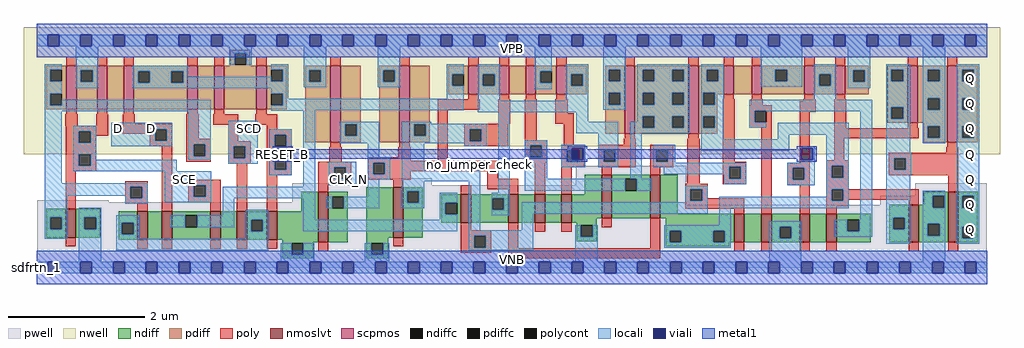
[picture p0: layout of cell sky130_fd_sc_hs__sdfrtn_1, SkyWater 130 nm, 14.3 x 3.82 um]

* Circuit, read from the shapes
.subckt sky130_fd_sc_hs__sdfrtn_1 CLK_N D RESET_B SCD SCE VGND VNB VPB VPWR Q
XM1 VGND SCE n1 VNB sky130_fd_pr__nfet_01v8_lvt w=0.42 l=0.15
XM2 n2 n1 n3 VNB sky130_fd_pr__nfet_01v8_lvt w=0.42 l=0.15
XM3 n4 D n2 VNB sky130_fd_pr__nfet_01v8_lvt w=0.42 l=0.15
XM4 n5 SCE n4 VNB sky130_fd_pr__nfet_01v8_lvt w=0.42 l=0.15
XM5 n3 SCD n5 VNB sky130_fd_pr__nfet_01v8_lvt w=0.42 l=0.15
XM6 VGND RESET_B n3 VNB sky130_fd_pr__nfet_01v8_lvt w=0.42 l=0.15
XM7 n6 CLK_N VGND VNB sky130_fd_pr__nfet_01v8_lvt w=0.74 l=0.15
XM8 n7 n6 VGND VNB sky130_fd_pr__nfet_01v8_lvt w=0.74 l=0.15
XM9 n8 n7 n4 VNB sky130_fd_pr__nfet_01v8_lvt w=0.42 l=0.15
XM10 n9 n6 n8 VNB sky130_fd_pr__nfet_01v8_lvt w=0.42 l=0.15
XM11 n10 n11 n9 VNB sky130_fd_pr__nfet_01v8_lvt w=0.42 l=0.15
XM12 VGND RESET_B n10 VNB sky130_fd_pr__nfet_01v8_lvt w=0.42 l=0.15
XM13 n11 n8 VGND VNB sky130_fd_pr__nfet_01v8_lvt w=0.64 l=0.15
XM14 n12 n6 n11 VNB sky130_fd_pr__nfet_01v8_lvt w=0.64 l=0.15
XM15 n13 n7 n12 VNB sky130_fd_pr__nfet_01v8_lvt w=0.42 l=0.15
XM16 VGND n14 n13 VNB sky130_fd_pr__nfet_01v8_lvt w=0.42 l=0.15
XM17 n15 RESET_B VGND VNB sky130_fd_pr__nfet_01v8_lvt w=0.42 l=0.15
XM18 n14 n12 n15 VNB sky130_fd_pr__nfet_01v8_lvt w=0.42 l=0.15
XM19 VGND n12 n16 VNB sky130_fd_pr__nfet_01v8_lvt w=0.55 l=0.15
XM20 Q n16 VGND VNB sky130_fd_pr__nfet_01v8_lvt w=0.74 l=0.15
XM21 VPWR SCE n1 VPB sky130_fd_pr__pfet_01v8 w=0.64 l=0.15
XM22 n17 SCE VPWR VPB sky130_fd_pr__pfet_01v8 w=0.64 l=0.15
XM23 n4 D n17 VPB sky130_fd_pr__pfet_01v8 w=0.64 l=0.15
XM24 n18 n1 n4 VPB sky130_fd_pr__pfet_01v8 w=0.64 l=0.15
XM25 VPWR SCD n18 VPB sky130_fd_pr__pfet_01v8 w=0.64 l=0.15
XM26 n4 RESET_B VPWR VPB sky130_fd_pr__pfet_01v8 w=0.64 l=0.15
XM27 n6 CLK_N VPWR VPB sky130_fd_pr__pfet_01v8 w=1.12 l=0.15
XM28 n7 n6 VPWR VPB sky130_fd_pr__pfet_01v8 w=1.12 l=0.15
XM29 n8 n6 n4 VPB sky130_fd_pr__pfet_01v8 w=0.42 l=0.15
XM30 n19 n7 n8 VPB sky130_fd_pr__pfet_01v8 w=0.42 l=0.15
XM31 VPWR n11 n19 VPB sky130_fd_pr__pfet_01v8 w=0.42 l=0.15
XM32 n8 RESET_B VPWR VPB sky130_fd_pr__pfet_01v8 w=0.42 l=0.15
XM33 n11 n8 VPWR VPB sky130_fd_pr__pfet_01v8 w=1 l=0.15
XM34 n12 n7 n11 VPB sky130_fd_pr__pfet_01v8 w=1 l=0.15
XM35 n20 n6 n12 VPB sky130_fd_pr__pfet_01v8 w=0.42 l=0.15
XM36 VPWR n14 n20 VPB sky130_fd_pr__pfet_01v8 w=0.42 l=0.15
XM37 n14 RESET_B VPWR VPB sky130_fd_pr__pfet_01v8 w=0.42 l=0.15
XM38 VPWR n12 n14 VPB sky130_fd_pr__pfet_01v8 w=0.42 l=0.15
XM39 VPWR n12 n16 VPB sky130_fd_pr__pfet_01v8 w=0.84 l=0.15
XM40 Q n16 VPWR VPB sky130_fd_pr__pfet_01v8 w=1.12 l=0.15
.ends

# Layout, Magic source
magic
tech sky130A
magscale 1 2
<< nwell >>
rect -38 356 2822 704
rect -38 332 1199 356
rect 1945 332 2822 356
<< pwell >>
rect 939 248 1157 262
rect 748 241 1157 248
rect 1579 241 1903 298
rect 1 191 211 198
rect 748 191 1903 241
rect 2573 210 2783 248
rect 1 184 1903 191
rect 2471 184 2783 210
rect 1 49 2783 184
rect 0 0 2784 49
<< scpmos >>
rect 86 464 116 592
rect 176 464 206 592
rect 254 464 284 592
rect 441 464 471 592
rect 519 464 549 592
rect 643 464 673 592
rect 860 368 890 592
rect 1062 368 1092 592
rect 1264 508 1294 592
rect 1354 508 1384 592
rect 1432 508 1462 592
rect 1522 508 1552 592
rect 1722 392 1752 592
rect 1909 392 1939 592
rect 2012 508 2042 592
rect 2094 508 2124 592
rect 2249 508 2279 592
rect 2339 508 2369 592
rect 2551 424 2581 592
rect 2667 368 2697 592
<< nmoslvt >>
rect 84 88 114 172
rect 294 81 324 165
rect 366 81 396 165
rect 508 81 538 165
rect 586 81 616 165
rect 674 81 704 165
rect 824 74 854 222
rect 1044 88 1074 236
rect 1242 131 1272 215
rect 1381 131 1411 215
rect 1459 131 1489 215
rect 1537 131 1567 215
rect 1655 144 1685 272
rect 1797 144 1827 272
rect 2043 74 2073 158
rect 2123 74 2153 158
rect 2235 74 2265 158
rect 2313 74 2343 158
rect 2554 74 2584 184
rect 2670 74 2700 222
<< ndiff >>
rect 27 147 84 172
rect 27 113 39 147
rect 73 113 84 147
rect 27 88 84 113
rect 114 147 185 172
rect 774 165 824 222
rect 114 113 139 147
rect 173 113 185 147
rect 114 88 185 113
rect 239 132 294 165
rect 239 98 249 132
rect 283 98 294 132
rect 239 81 294 98
rect 324 81 366 165
rect 396 153 508 165
rect 396 119 435 153
rect 469 119 508 153
rect 396 81 508 119
rect 538 81 586 165
rect 616 140 674 165
rect 616 106 628 140
rect 662 106 674 140
rect 616 81 674 106
rect 704 81 824 165
rect 719 74 824 81
rect 854 208 911 222
rect 854 174 865 208
rect 899 174 911 208
rect 854 74 911 174
rect 965 88 1044 236
rect 1074 224 1131 236
rect 1074 190 1085 224
rect 1119 190 1131 224
rect 1605 215 1655 272
rect 1074 88 1131 190
rect 1185 190 1242 215
rect 1185 156 1197 190
rect 1231 156 1242 190
rect 1185 131 1242 156
rect 1272 203 1381 215
rect 1272 169 1334 203
rect 1368 169 1381 203
rect 1272 131 1381 169
rect 1411 131 1459 215
rect 1489 131 1537 215
rect 1567 144 1655 215
rect 1685 260 1797 272
rect 1685 226 1724 260
rect 1758 226 1797 260
rect 1685 144 1797 226
rect 1827 158 1877 272
rect 2599 210 2670 222
rect 2599 184 2625 210
rect 1827 144 2043 158
rect 1567 131 1640 144
rect 719 72 809 74
rect 719 38 747 72
rect 781 38 809 72
rect 965 72 1029 88
rect 719 27 809 38
rect 965 38 980 72
rect 1014 38 1029 72
rect 1582 124 1640 131
rect 1582 90 1594 124
rect 1628 90 1640 124
rect 1582 78 1640 90
rect 1842 108 2043 144
rect 1842 74 1854 108
rect 1888 74 1982 108
rect 2016 74 2043 108
rect 2073 74 2123 158
rect 2153 120 2235 158
rect 2153 86 2176 120
rect 2210 86 2235 120
rect 2153 74 2235 86
rect 2265 74 2313 158
rect 2343 140 2443 158
rect 2343 106 2375 140
rect 2409 106 2443 140
rect 2343 74 2443 106
rect 2497 146 2554 184
rect 2497 112 2509 146
rect 2543 112 2554 146
rect 2497 74 2554 112
rect 2584 176 2625 184
rect 2659 176 2670 210
rect 2584 128 2670 176
rect 2584 94 2611 128
rect 2645 94 2670 128
rect 2584 74 2670 94
rect 2700 210 2757 222
rect 2700 176 2711 210
rect 2745 176 2757 210
rect 2700 120 2757 176
rect 2700 86 2711 120
rect 2745 86 2757 120
rect 2700 74 2757 86
rect 1842 62 2028 74
rect 965 27 1029 38
<< pdiff >>
rect 567 628 625 639
rect 567 594 579 628
rect 613 594 625 628
rect 567 592 625 594
rect 27 580 86 592
rect 27 546 39 580
rect 73 546 86 580
rect 27 510 86 546
rect 27 476 39 510
rect 73 476 86 510
rect 27 464 86 476
rect 116 578 176 592
rect 116 544 129 578
rect 163 544 176 578
rect 116 464 176 544
rect 206 464 254 592
rect 284 576 441 592
rect 284 542 297 576
rect 331 542 394 576
rect 428 542 441 576
rect 284 464 441 542
rect 471 464 519 592
rect 549 464 643 592
rect 673 580 732 592
rect 673 546 686 580
rect 720 546 732 580
rect 673 510 732 546
rect 673 476 686 510
rect 720 476 732 510
rect 673 464 732 476
rect 786 579 860 592
rect 786 545 798 579
rect 832 545 860 579
rect 786 368 860 545
rect 890 420 949 592
rect 890 386 903 420
rect 937 386 949 420
rect 890 368 949 386
rect 1003 579 1062 592
rect 1003 545 1015 579
rect 1049 545 1062 579
rect 1003 368 1062 545
rect 1092 420 1151 592
rect 1205 567 1264 592
rect 1205 533 1217 567
rect 1251 533 1264 567
rect 1205 508 1264 533
rect 1294 567 1354 592
rect 1294 533 1307 567
rect 1341 533 1354 567
rect 1294 508 1354 533
rect 1384 508 1432 592
rect 1462 576 1522 592
rect 1462 542 1475 576
rect 1509 542 1522 576
rect 1462 508 1522 542
rect 1552 567 1611 592
rect 1552 533 1565 567
rect 1599 533 1611 567
rect 1552 508 1611 533
rect 1665 580 1722 592
rect 1665 546 1675 580
rect 1709 546 1722 580
rect 1665 512 1722 546
rect 1092 386 1105 420
rect 1139 386 1151 420
rect 1092 368 1151 386
rect 1665 478 1675 512
rect 1709 478 1722 512
rect 1665 392 1722 478
rect 1752 580 1909 592
rect 1752 546 1775 580
rect 1809 546 1862 580
rect 1896 546 1909 580
rect 1752 512 1909 546
rect 1752 478 1775 512
rect 1809 478 1862 512
rect 1896 478 1909 512
rect 1752 444 1909 478
rect 1752 410 1775 444
rect 1809 410 1862 444
rect 1896 410 1909 444
rect 1752 392 1909 410
rect 1939 580 2012 592
rect 1939 546 1963 580
rect 1997 546 2012 580
rect 1939 512 2012 546
rect 1939 478 1952 512
rect 1986 508 2012 512
rect 2042 508 2094 592
rect 2124 580 2249 592
rect 2124 546 2164 580
rect 2198 546 2249 580
rect 2124 508 2249 546
rect 2279 567 2339 592
rect 2279 533 2292 567
rect 2326 533 2339 567
rect 2279 508 2339 533
rect 2369 578 2438 592
rect 2369 544 2392 578
rect 2426 544 2438 578
rect 2369 508 2438 544
rect 2492 580 2551 592
rect 2492 546 2504 580
rect 2538 546 2551 580
rect 1986 478 1994 508
rect 1939 444 1994 478
rect 1939 410 1952 444
rect 1986 410 1994 444
rect 1939 392 1994 410
rect 2492 470 2551 546
rect 2492 436 2504 470
rect 2538 436 2551 470
rect 2492 424 2551 436
rect 2581 580 2667 592
rect 2581 546 2611 580
rect 2645 546 2667 580
rect 2581 497 2667 546
rect 2581 463 2611 497
rect 2645 463 2667 497
rect 2581 424 2667 463
rect 2599 414 2667 424
rect 2599 380 2611 414
rect 2645 380 2667 414
rect 2599 368 2667 380
rect 2697 580 2757 592
rect 2697 546 2711 580
rect 2745 546 2757 580
rect 2697 497 2757 546
rect 2697 463 2711 497
rect 2745 463 2757 497
rect 2697 414 2757 463
rect 2697 380 2711 414
rect 2745 380 2757 414
rect 2697 368 2757 380
<< ndiffc >>
rect 39 113 73 147
rect 139 113 173 147
rect 249 98 283 132
rect 435 119 469 153
rect 628 106 662 140
rect 865 174 899 208
rect 1085 190 1119 224
rect 1197 156 1231 190
rect 1334 169 1368 203
rect 1724 226 1758 260
rect 747 38 781 72
rect 980 38 1014 72
rect 1594 90 1628 124
rect 1854 74 1888 108
rect 1982 74 2016 108
rect 2176 86 2210 120
rect 2375 106 2409 140
rect 2509 112 2543 146
rect 2625 176 2659 210
rect 2611 94 2645 128
rect 2711 176 2745 210
rect 2711 86 2745 120
<< pdiffc >>
rect 579 594 613 628
rect 39 546 73 580
rect 39 476 73 510
rect 129 544 163 578
rect 297 542 331 576
rect 394 542 428 576
rect 686 546 720 580
rect 686 476 720 510
rect 798 545 832 579
rect 903 386 937 420
rect 1015 545 1049 579
rect 1217 533 1251 567
rect 1307 533 1341 567
rect 1475 542 1509 576
rect 1565 533 1599 567
rect 1675 546 1709 580
rect 1105 386 1139 420
rect 1675 478 1709 512
rect 1775 546 1809 580
rect 1862 546 1896 580
rect 1775 478 1809 512
rect 1862 478 1896 512
rect 1775 410 1809 444
rect 1862 410 1896 444
rect 1963 546 1997 580
rect 1952 478 1986 512
rect 2164 546 2198 580
rect 2292 533 2326 567
rect 2392 544 2426 578
rect 2504 546 2538 580
rect 1952 410 1986 444
rect 2504 436 2538 470
rect 2611 546 2645 580
rect 2611 463 2645 497
rect 2611 380 2645 414
rect 2711 546 2745 580
rect 2711 463 2745 497
rect 2711 380 2745 414
<< poly >>
rect 86 592 116 618
rect 176 592 206 618
rect 254 592 284 618
rect 441 592 471 618
rect 519 592 549 618
rect 643 592 673 618
rect 860 592 890 618
rect 1062 592 1092 618
rect 1264 592 1294 618
rect 1354 592 1384 618
rect 1432 592 1462 618
rect 1522 592 1552 618
rect 1722 592 1752 618
rect 1909 592 1939 618
rect 2012 592 2042 618
rect 2094 592 2124 618
rect 2249 592 2279 618
rect 2339 592 2369 618
rect 2551 592 2581 618
rect 2667 592 2697 618
rect 86 449 116 464
rect 176 449 206 464
rect 254 449 284 464
rect 441 449 471 464
rect 519 449 549 464
rect 643 449 673 464
rect 83 416 119 449
rect 173 416 209 449
rect 84 400 209 416
rect 84 366 123 400
rect 157 386 209 400
rect 251 422 287 449
rect 251 406 396 422
rect 251 392 346 406
rect 157 366 173 386
rect 84 332 173 366
rect 330 372 346 392
rect 380 372 396 406
rect 330 356 396 372
rect 84 298 123 332
rect 157 298 173 332
rect 84 282 173 298
rect 84 172 114 282
rect 258 237 324 253
rect 258 203 274 237
rect 308 203 324 237
rect 258 187 324 203
rect 294 165 324 187
rect 366 165 396 356
rect 438 377 474 449
rect 516 419 590 449
rect 640 419 704 449
rect 438 361 509 377
rect 438 327 459 361
rect 493 327 509 361
rect 438 311 509 327
rect 560 371 590 419
rect 674 405 704 419
rect 674 389 747 405
rect 560 355 626 371
rect 560 321 576 355
rect 610 321 626 355
rect 560 305 626 321
rect 674 355 697 389
rect 731 355 747 389
rect 1264 493 1294 508
rect 1354 493 1384 508
rect 1432 493 1462 508
rect 1522 493 1552 508
rect 1174 463 1297 493
rect 674 321 747 355
rect 860 353 890 368
rect 1062 353 1092 368
rect 444 241 538 257
rect 444 207 460 241
rect 494 207 538 241
rect 444 191 538 207
rect 508 165 538 191
rect 586 165 616 305
rect 674 287 697 321
rect 731 287 747 321
rect 857 310 893 353
rect 1059 324 1095 353
rect 969 313 1095 324
rect 1174 313 1204 463
rect 1351 421 1387 493
rect 1252 405 1381 421
rect 1252 371 1268 405
rect 1302 371 1381 405
rect 1252 355 1381 371
rect 1429 374 1465 493
rect 1519 452 1555 493
rect 1519 422 1573 452
rect 1429 358 1495 374
rect 1543 360 1573 422
rect 2012 493 2042 508
rect 2094 493 2124 508
rect 2249 493 2279 508
rect 2339 493 2369 508
rect 1722 377 1752 392
rect 1909 377 1939 392
rect 1719 360 1755 377
rect 1429 324 1445 358
rect 1479 324 1495 358
rect 674 271 747 287
rect 824 294 921 310
rect 674 165 704 271
rect 824 260 871 294
rect 905 260 921 294
rect 824 244 921 260
rect 969 308 1350 313
rect 1429 308 1495 324
rect 1537 344 1603 360
rect 1537 310 1553 344
rect 1587 310 1603 344
rect 969 274 985 308
rect 1019 283 1350 308
rect 1019 274 1095 283
rect 969 258 1095 274
rect 1320 260 1350 283
rect 824 222 854 244
rect 1044 236 1074 258
rect 84 62 114 88
rect 294 55 324 81
rect 366 55 396 81
rect 508 55 538 81
rect 586 55 616 81
rect 674 55 704 81
rect 1242 215 1272 241
rect 1320 230 1411 260
rect 1381 215 1411 230
rect 1459 215 1489 308
rect 1537 294 1603 310
rect 1645 344 1755 360
rect 1645 310 1661 344
rect 1695 310 1755 344
rect 1645 294 1755 310
rect 1797 344 1864 360
rect 1797 310 1814 344
rect 1848 310 1864 344
rect 1797 294 1864 310
rect 1537 215 1567 294
rect 1655 272 1685 294
rect 1797 272 1827 294
rect 1906 246 1942 377
rect 2009 311 2045 493
rect 2091 476 2127 493
rect 2246 487 2282 493
rect 2087 460 2153 476
rect 2087 426 2103 460
rect 2137 426 2153 460
rect 2087 410 2153 426
rect 2009 295 2079 311
rect 2009 261 2029 295
rect 2063 261 2079 295
rect 1899 230 1965 246
rect 2009 245 2079 261
rect 1899 196 1915 230
rect 1949 203 1965 230
rect 1949 196 2073 203
rect 1899 173 2073 196
rect 2043 158 2073 173
rect 2123 158 2153 410
rect 2235 457 2282 487
rect 2235 308 2265 457
rect 2336 409 2372 493
rect 2551 409 2581 424
rect 2336 379 2584 409
rect 2336 314 2366 379
rect 2667 353 2697 368
rect 2664 337 2700 353
rect 2496 321 2700 337
rect 2199 292 2265 308
rect 2199 258 2215 292
rect 2249 258 2265 292
rect 2199 242 2265 258
rect 2235 158 2265 242
rect 2313 298 2379 314
rect 2313 264 2329 298
rect 2363 264 2379 298
rect 2496 287 2512 321
rect 2546 287 2700 321
rect 2496 271 2700 287
rect 2313 230 2379 264
rect 2313 196 2329 230
rect 2363 229 2379 230
rect 2363 199 2584 229
rect 2670 222 2700 271
rect 2363 196 2379 199
rect 2313 180 2379 196
rect 2554 184 2584 199
rect 2313 158 2343 180
rect 1242 109 1272 131
rect 1242 93 1331 109
rect 824 48 854 74
rect 1044 62 1074 88
rect 1242 59 1281 93
rect 1315 59 1331 93
rect 1242 43 1331 59
rect 1381 57 1411 131
rect 1459 105 1489 131
rect 1537 105 1567 131
rect 1655 118 1685 144
rect 1797 57 1827 144
rect 1381 27 1827 57
rect 2043 48 2073 74
rect 2123 48 2153 74
rect 2235 48 2265 74
rect 2313 48 2343 74
rect 2554 48 2584 74
rect 2670 48 2700 74
<< polycont >>
rect 123 366 157 400
rect 346 372 380 406
rect 123 298 157 332
rect 274 203 308 237
rect 459 327 493 361
rect 576 321 610 355
rect 697 355 731 389
rect 460 207 494 241
rect 697 287 731 321
rect 1268 371 1302 405
rect 1445 324 1479 358
rect 871 260 905 294
rect 1553 310 1587 344
rect 985 274 1019 308
rect 1661 310 1695 344
rect 1814 310 1848 344
rect 2103 426 2137 460
rect 2029 261 2063 295
rect 1915 196 1949 230
rect 2215 258 2249 292
rect 2329 264 2363 298
rect 2512 287 2546 321
rect 2329 196 2363 230
rect 1281 59 1315 93
<< locali >>
rect 0 649 31 683
rect 65 649 127 683
rect 161 649 223 683
rect 257 649 319 683
rect 353 649 415 683
rect 449 649 511 683
rect 545 649 607 683
rect 641 649 703 683
rect 737 649 799 683
rect 833 649 895 683
rect 929 649 991 683
rect 1025 649 1087 683
rect 1121 649 1183 683
rect 1217 649 1279 683
rect 1313 649 1375 683
rect 1409 649 1471 683
rect 1505 649 1567 683
rect 1601 649 1663 683
rect 1697 649 1759 683
rect 1793 649 1855 683
rect 1889 649 1951 683
rect 1985 649 2047 683
rect 2081 649 2143 683
rect 2177 649 2239 683
rect 2273 649 2335 683
rect 2369 649 2431 683
rect 2465 649 2527 683
rect 2561 649 2623 683
rect 2657 649 2719 683
rect 2753 649 2784 683
rect 23 580 73 596
rect 23 546 39 580
rect 23 510 73 546
rect 113 578 179 649
rect 563 628 629 649
rect 563 594 579 628
rect 613 594 629 628
rect 113 544 129 578
rect 163 544 179 578
rect 113 526 179 544
rect 281 576 444 592
rect 281 542 297 576
rect 331 542 394 576
rect 428 560 444 576
rect 686 580 736 596
rect 428 546 686 560
rect 720 546 736 580
rect 428 542 736 546
rect 281 526 736 542
rect 782 579 848 649
rect 782 545 798 579
rect 832 545 848 579
rect 782 529 848 545
rect 999 579 1065 649
rect 999 545 1015 579
rect 1049 545 1065 579
rect 999 529 1065 545
rect 1201 567 1251 596
rect 1201 533 1217 567
rect 23 476 39 510
rect 686 510 736 526
rect 73 476 509 492
rect 23 458 509 476
rect 720 495 736 510
rect 1201 495 1251 533
rect 720 476 1251 495
rect 686 461 1251 476
rect 1291 567 1357 596
rect 1291 533 1307 567
rect 1341 533 1357 567
rect 1291 489 1357 533
rect 1459 576 1509 649
rect 1459 542 1475 576
rect 1459 523 1509 542
rect 1549 567 1615 596
rect 1549 533 1565 567
rect 1599 533 1615 567
rect 1549 489 1615 533
rect 686 460 815 461
rect 23 248 73 458
rect 107 400 173 416
rect 107 366 123 400
rect 157 366 173 400
rect 107 332 173 366
rect 217 406 396 424
rect 217 372 346 406
rect 380 372 396 406
rect 217 356 396 372
rect 443 361 509 458
rect 107 298 123 332
rect 157 316 173 332
rect 443 327 459 361
rect 493 327 509 361
rect 443 316 509 327
rect 560 355 647 430
rect 560 321 576 355
rect 610 321 647 355
rect 157 298 409 316
rect 560 305 647 321
rect 681 389 747 405
rect 681 355 697 389
rect 731 355 747 389
rect 681 350 747 355
rect 681 321 703 350
rect 107 282 409 298
rect 681 287 697 321
rect 737 316 747 350
rect 731 287 747 316
rect 23 237 324 248
rect 23 210 274 237
rect 23 147 89 210
rect 258 203 274 210
rect 308 203 324 237
rect 258 187 324 203
rect 375 241 510 282
rect 681 271 747 287
rect 375 207 460 241
rect 494 207 510 241
rect 781 237 815 460
rect 1291 455 1615 489
rect 1659 580 1725 649
rect 1659 546 1675 580
rect 1709 546 1725 580
rect 1659 512 1725 546
rect 1659 478 1675 512
rect 1709 478 1725 512
rect 1659 462 1725 478
rect 1759 580 1913 596
rect 1759 546 1775 580
rect 1809 546 1862 580
rect 1896 546 1913 580
rect 1759 512 1913 546
rect 1759 478 1775 512
rect 1809 478 1862 512
rect 1896 478 1913 512
rect 887 420 1003 427
rect 887 386 903 420
rect 937 386 1003 420
rect 887 364 1003 386
rect 969 324 1003 364
rect 1069 421 1155 427
rect 1069 420 1318 421
rect 1069 386 1105 420
rect 1139 405 1318 420
rect 1139 386 1268 405
rect 1069 371 1268 386
rect 1302 371 1318 405
rect 1069 364 1318 371
rect 855 294 935 310
rect 855 260 871 294
rect 905 260 935 294
rect 855 242 935 260
rect 969 308 1035 324
rect 969 274 985 308
rect 1019 274 1035 308
rect 969 258 1035 274
rect 1069 287 1135 364
rect 1252 355 1318 364
rect 375 191 510 207
rect 544 203 815 237
rect 969 208 1003 258
rect 23 113 39 147
rect 73 113 89 147
rect 23 84 89 113
rect 123 147 189 176
rect 544 153 578 203
rect 123 113 139 147
rect 173 113 189 147
rect 123 17 189 113
rect 233 132 299 153
rect 233 98 249 132
rect 283 98 299 132
rect 391 119 435 153
rect 469 119 578 153
rect 612 140 678 169
rect 233 85 299 98
rect 612 106 628 140
rect 662 106 678 140
rect 781 140 815 203
rect 849 174 865 208
rect 899 174 1003 208
rect 1069 253 1299 287
rect 1069 224 1135 253
rect 1069 190 1085 224
rect 1119 190 1135 224
rect 1069 174 1135 190
rect 1181 190 1231 219
rect 1181 156 1197 190
rect 1181 140 1231 156
rect 781 106 1231 140
rect 1265 109 1299 253
rect 1352 219 1386 455
rect 1581 428 1615 455
rect 1759 444 1913 478
rect 1759 428 1775 444
rect 1581 394 1704 428
rect 1429 358 1495 374
rect 1429 324 1445 358
rect 1479 324 1495 358
rect 1429 260 1495 324
rect 1537 350 1607 360
rect 1537 344 1567 350
rect 1537 310 1553 344
rect 1601 316 1607 350
rect 1587 310 1607 316
rect 1537 294 1607 310
rect 1645 344 1704 394
rect 1645 310 1661 344
rect 1695 310 1704 344
rect 1645 294 1704 310
rect 1738 410 1775 428
rect 1809 410 1862 444
rect 1896 410 1913 444
rect 1738 394 1913 410
rect 1947 580 2013 596
rect 1947 546 1963 580
rect 1997 546 2013 580
rect 1947 512 2013 546
rect 2121 580 2242 649
rect 2121 546 2164 580
rect 2198 546 2242 580
rect 2121 530 2242 546
rect 2276 567 2342 596
rect 2276 533 2292 567
rect 2326 533 2342 567
rect 1947 478 1952 512
rect 1986 478 2013 512
rect 2276 492 2342 533
rect 2376 578 2442 649
rect 2376 544 2392 578
rect 2426 544 2442 578
rect 2376 526 2442 544
rect 2488 580 2559 596
rect 2488 546 2504 580
rect 2538 546 2559 580
rect 1947 444 2013 478
rect 1947 410 1952 444
rect 1986 410 2013 444
rect 2087 460 2447 492
rect 2087 426 2103 460
rect 2137 458 2447 460
rect 2087 410 2137 426
rect 1738 260 1772 394
rect 1947 376 2013 410
rect 2171 390 2379 424
rect 2171 376 2205 390
rect 1806 344 1870 360
rect 1806 310 1814 344
rect 1848 310 1870 344
rect 1947 342 2205 376
rect 2239 350 2279 356
rect 1806 308 1870 310
rect 2273 316 2279 350
rect 2239 308 2279 316
rect 1806 295 2079 308
rect 1806 294 2029 295
rect 1836 274 2029 294
rect 2013 261 2029 274
rect 2063 261 2079 295
rect 1429 226 1724 260
rect 1758 226 1802 260
rect 2013 245 2079 261
rect 2199 292 2279 308
rect 2199 258 2215 292
rect 2249 258 2279 292
rect 2199 242 2279 258
rect 2313 298 2379 390
rect 2313 264 2329 298
rect 2363 264 2379 298
rect 1899 230 1965 240
rect 1333 203 1386 219
rect 1333 169 1334 203
rect 1368 169 1386 203
rect 1899 196 1915 230
rect 1949 196 1965 230
rect 2313 230 2379 264
rect 2313 208 2329 230
rect 1899 192 1965 196
rect 1333 153 1386 169
rect 1420 158 1965 192
rect 1999 196 2329 208
rect 2363 196 2379 230
rect 1999 174 2379 196
rect 1420 109 1454 158
rect 1999 124 2033 174
rect 2413 140 2447 458
rect 612 85 678 106
rect 233 51 678 85
rect 1265 93 1454 109
rect 715 38 747 72
rect 781 38 813 72
rect 715 17 813 38
rect 961 38 980 72
rect 1014 38 1033 72
rect 1265 59 1281 93
rect 1315 59 1454 93
rect 1265 51 1454 59
rect 1578 90 1594 124
rect 1628 90 1644 124
rect 961 17 1033 38
rect 1578 17 1644 90
rect 1838 108 2033 124
rect 1838 74 1854 108
rect 1888 74 1982 108
rect 2016 74 2033 108
rect 1838 58 2033 74
rect 2146 120 2240 136
rect 2146 86 2176 120
rect 2210 86 2240 120
rect 2338 106 2375 140
rect 2409 106 2447 140
rect 2338 90 2447 106
rect 2488 470 2559 546
rect 2488 436 2504 470
rect 2538 436 2559 470
rect 2488 337 2559 436
rect 2595 580 2661 649
rect 2595 546 2611 580
rect 2645 546 2661 580
rect 2595 497 2661 546
rect 2595 463 2611 497
rect 2645 463 2661 497
rect 2595 414 2661 463
rect 2595 380 2611 414
rect 2645 380 2661 414
rect 2595 364 2661 380
rect 2695 580 2761 596
rect 2695 546 2711 580
rect 2745 546 2761 580
rect 2695 497 2761 546
rect 2695 463 2711 497
rect 2745 463 2761 497
rect 2695 414 2761 463
rect 2695 380 2711 414
rect 2745 380 2761 414
rect 2488 321 2562 337
rect 2488 287 2512 321
rect 2546 287 2562 321
rect 2488 271 2562 287
rect 2488 146 2559 271
rect 2488 112 2509 146
rect 2543 112 2559 146
rect 2146 17 2240 86
rect 2488 70 2559 112
rect 2595 210 2661 226
rect 2595 176 2625 210
rect 2659 176 2661 210
rect 2595 128 2661 176
rect 2595 94 2611 128
rect 2645 94 2661 128
rect 2595 17 2661 94
rect 2695 210 2761 380
rect 2695 176 2711 210
rect 2745 176 2761 210
rect 2695 120 2761 176
rect 2695 86 2711 120
rect 2745 86 2761 120
rect 2695 70 2761 86
rect 0 -17 31 17
rect 65 -17 127 17
rect 161 -17 223 17
rect 257 -17 319 17
rect 353 -17 415 17
rect 449 -17 511 17
rect 545 -17 607 17
rect 641 -17 703 17
rect 737 -17 799 17
rect 833 -17 895 17
rect 929 -17 991 17
rect 1025 -17 1087 17
rect 1121 -17 1183 17
rect 1217 -17 1279 17
rect 1313 -17 1375 17
rect 1409 -17 1471 17
rect 1505 -17 1567 17
rect 1601 -17 1663 17
rect 1697 -17 1759 17
rect 1793 -17 1855 17
rect 1889 -17 1951 17
rect 1985 -17 2047 17
rect 2081 -17 2143 17
rect 2177 -17 2239 17
rect 2273 -17 2335 17
rect 2369 -17 2431 17
rect 2465 -17 2527 17
rect 2561 -17 2623 17
rect 2657 -17 2719 17
rect 2753 -17 2784 17
<< viali >>
rect 31 649 65 683
rect 127 649 161 683
rect 223 649 257 683
rect 319 649 353 683
rect 415 649 449 683
rect 511 649 545 683
rect 607 649 641 683
rect 703 649 737 683
rect 799 649 833 683
rect 895 649 929 683
rect 991 649 1025 683
rect 1087 649 1121 683
rect 1183 649 1217 683
rect 1279 649 1313 683
rect 1375 649 1409 683
rect 1471 649 1505 683
rect 1567 649 1601 683
rect 1663 649 1697 683
rect 1759 649 1793 683
rect 1855 649 1889 683
rect 1951 649 1985 683
rect 2047 649 2081 683
rect 2143 649 2177 683
rect 2239 649 2273 683
rect 2335 649 2369 683
rect 2431 649 2465 683
rect 2527 649 2561 683
rect 2623 649 2657 683
rect 2719 649 2753 683
rect 703 321 737 350
rect 703 316 731 321
rect 731 316 737 321
rect 1567 344 1601 350
rect 1567 316 1587 344
rect 1587 316 1601 344
rect 2239 316 2273 350
rect 31 -17 65 17
rect 127 -17 161 17
rect 223 -17 257 17
rect 319 -17 353 17
rect 415 -17 449 17
rect 511 -17 545 17
rect 607 -17 641 17
rect 703 -17 737 17
rect 799 -17 833 17
rect 895 -17 929 17
rect 991 -17 1025 17
rect 1087 -17 1121 17
rect 1183 -17 1217 17
rect 1279 -17 1313 17
rect 1375 -17 1409 17
rect 1471 -17 1505 17
rect 1567 -17 1601 17
rect 1663 -17 1697 17
rect 1759 -17 1793 17
rect 1855 -17 1889 17
rect 1951 -17 1985 17
rect 2047 -17 2081 17
rect 2143 -17 2177 17
rect 2239 -17 2273 17
rect 2335 -17 2369 17
rect 2431 -17 2465 17
rect 2527 -17 2561 17
rect 2623 -17 2657 17
rect 2719 -17 2753 17
<< metal1 >>
rect 0 683 2784 715
rect 0 649 31 683
rect 65 649 127 683
rect 161 649 223 683
rect 257 649 319 683
rect 353 649 415 683
rect 449 649 511 683
rect 545 649 607 683
rect 641 649 703 683
rect 737 649 799 683
rect 833 649 895 683
rect 929 649 991 683
rect 1025 649 1087 683
rect 1121 649 1183 683
rect 1217 649 1279 683
rect 1313 649 1375 683
rect 1409 649 1471 683
rect 1505 649 1567 683
rect 1601 649 1663 683
rect 1697 649 1759 683
rect 1793 649 1855 683
rect 1889 649 1951 683
rect 1985 649 2047 683
rect 2081 649 2143 683
rect 2177 649 2239 683
rect 2273 649 2335 683
rect 2369 649 2431 683
rect 2465 649 2527 683
rect 2561 649 2623 683
rect 2657 649 2719 683
rect 2753 649 2784 683
rect 0 617 2784 649
rect 691 350 749 356
rect 691 316 703 350
rect 737 347 749 350
rect 1555 350 1613 356
rect 1555 347 1567 350
rect 737 319 1567 347
rect 737 316 749 319
rect 691 310 749 316
rect 1555 316 1567 319
rect 1601 347 1613 350
rect 2227 350 2285 356
rect 2227 347 2239 350
rect 1601 319 2239 347
rect 1601 316 1613 319
rect 1555 310 1613 316
rect 2227 316 2239 319
rect 2273 316 2285 350
rect 2227 310 2285 316
rect 0 17 2784 49
rect 0 -17 31 17
rect 65 -17 127 17
rect 161 -17 223 17
rect 257 -17 319 17
rect 353 -17 415 17
rect 449 -17 511 17
rect 545 -17 607 17
rect 641 -17 703 17
rect 737 -17 799 17
rect 833 -17 895 17
rect 929 -17 991 17
rect 1025 -17 1087 17
rect 1121 -17 1183 17
rect 1217 -17 1279 17
rect 1313 -17 1375 17
rect 1409 -17 1471 17
rect 1505 -17 1567 17
rect 1601 -17 1663 17
rect 1697 -17 1759 17
rect 1793 -17 1855 17
rect 1889 -17 1951 17
rect 1985 -17 2047 17
rect 2081 -17 2143 17
rect 2177 -17 2239 17
rect 2273 -17 2335 17
rect 2369 -17 2431 17
rect 2465 -17 2527 17
rect 2561 -17 2623 17
rect 2657 -17 2719 17
rect 2753 -17 2784 17
rect 0 -49 2784 -17
<< labels >>
flabel comment s 1298 302 1298 302 0 FreeSans 200 0 0 0 no_jumper_check
rlabel comment s 0 0 0 0 4 sdfrtn_1
flabel pwell s 0 0 2784 49 0 FreeSans 200 0 0 0 VNB
port 7 nsew ground bidirectional
flabel nwell s 0 617 2784 666 0 FreeSans 200 0 0 0 VPB
port 8 nsew power bidirectional
flabel metal1 s 703 316 737 350 0 FreeSans 340 0 0 0 RESET_B
port 3 nsew signal input
flabel metal1 s 0 617 2784 666 0 FreeSans 340 0 0 0 VPWR
port 9 nsew power bidirectional
flabel metal1 s 0 0 2784 49 0 FreeSans 340 0 0 0 VGND
port 6 nsew ground bidirectional
flabel locali s 2719 94 2753 128 0 FreeSans 340 0 0 0 Q
port 10 nsew signal output
flabel locali s 2719 168 2753 202 0 FreeSans 340 0 0 0 Q
port 10 nsew signal output
flabel locali s 2719 242 2753 276 0 FreeSans 340 0 0 0 Q
port 10 nsew signal output
flabel locali s 2719 316 2753 350 0 FreeSans 340 0 0 0 Q
port 10 nsew signal output
flabel locali s 2719 390 2753 424 0 FreeSans 340 0 0 0 Q
port 10 nsew signal output
flabel locali s 2719 464 2753 498 0 FreeSans 340 0 0 0 Q
port 10 nsew signal output
flabel locali s 2719 538 2753 572 0 FreeSans 340 0 0 0 Q
port 10 nsew signal output
flabel locali s 895 242 929 276 0 FreeSans 340 0 0 0 CLK_N
port 1 nsew clock input
flabel locali s 607 316 641 350 0 FreeSans 340 0 0 0 SCD
port 4 nsew signal input
flabel locali s 607 390 641 424 0 FreeSans 340 0 0 0 SCD
port 4 nsew signal input
flabel locali s 415 242 449 276 0 FreeSans 340 0 0 0 SCE
port 5 nsew signal input
flabel locali s 223 390 257 424 0 FreeSans 340 0 0 0 D
port 2 nsew signal input
flabel locali s 319 390 353 424 0 FreeSans 340 0 0 0 D
port 2 nsew signal input
<< properties >>
string LEFsite unit
string LEFclass CORE
string FIXED_BBOX 0 0 2784 666
string GDS_FILE $PDKPATH/libs.ref/sky130_fd_sc_hs/gds/sky130_fd_sc_hs.gds
string LEFsymmetry X Y R90
string GDS_END 2948662
string GDS_START 2928216
<< end >>
